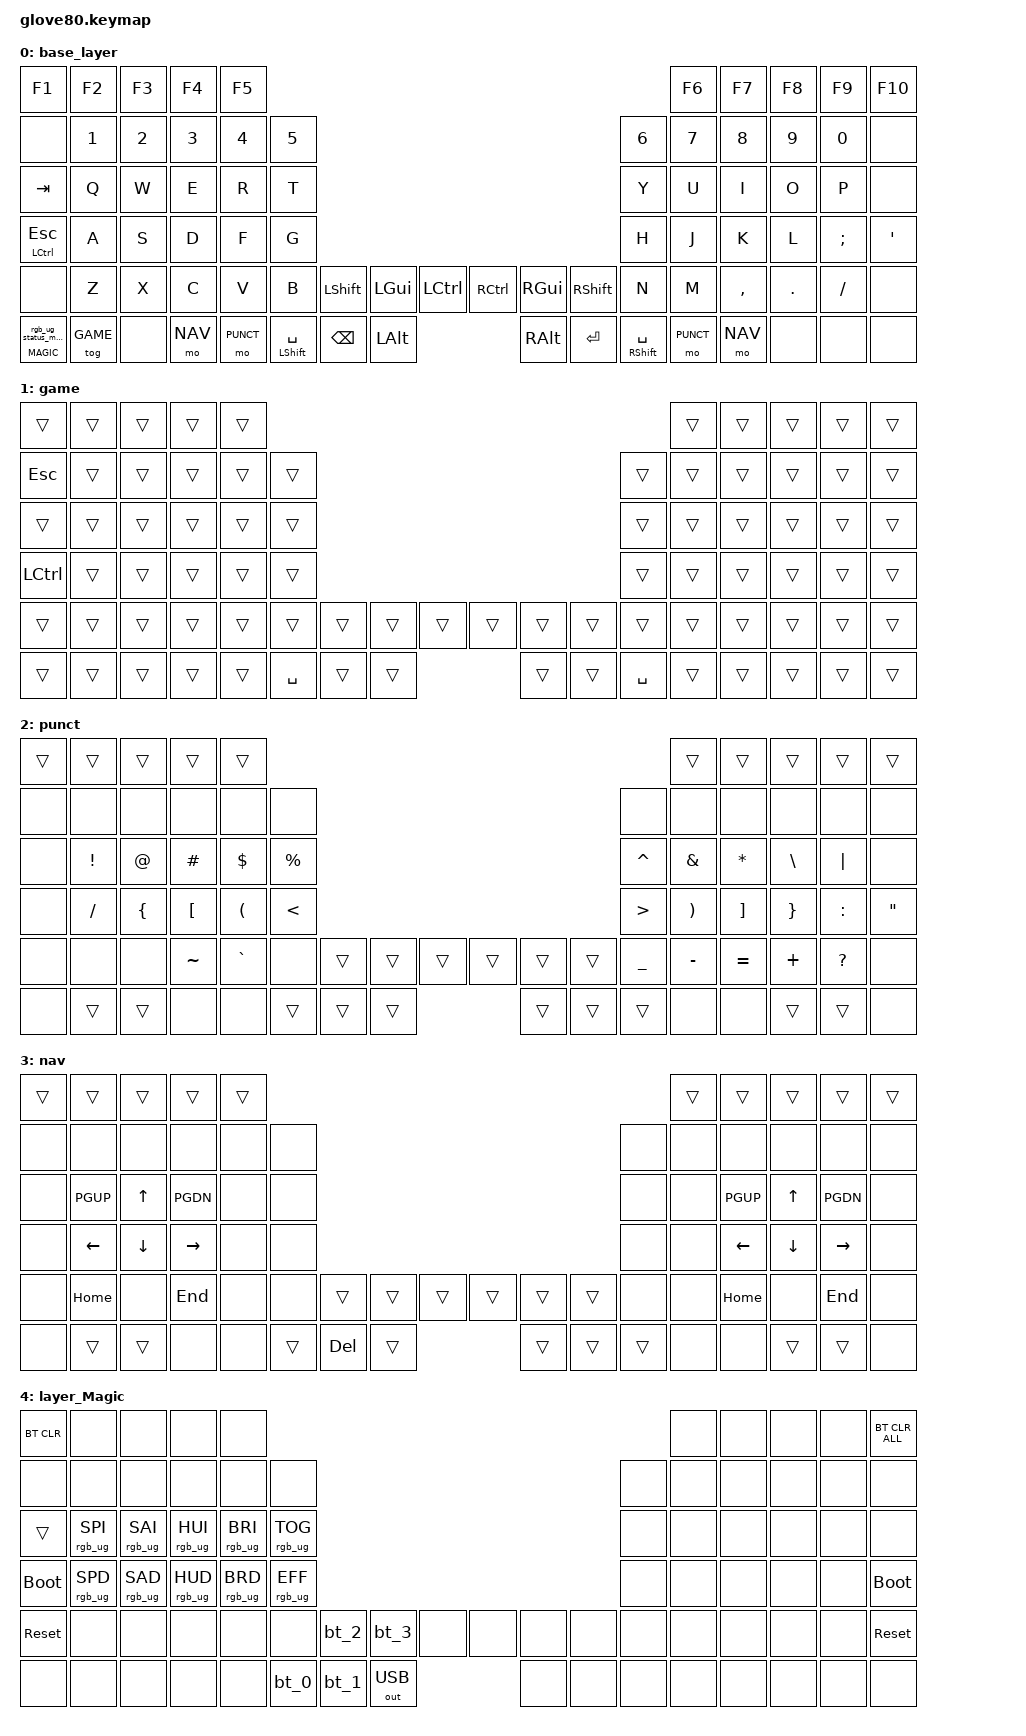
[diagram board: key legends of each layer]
/* vim: nowrap ft=dts
 * Copyright (c) 2020 The ZMK Contributors
 *
 * SPDX-License-Identifier: MIT
 */

#include <behaviors.dtsi>
#include <dt-bindings/zmk/keys.h>
#include <dt-bindings/zmk/bt.h>
#include <dt-bindings/zmk/ext_power.h>
#include <dt-bindings/zmk/outputs.h>
#include <dt-bindings/zmk/rgb.h>

&mt {
    tapping-term-ms = <100>;
    flavor = "balanced";
    // docs say "hold-preferred" should be equivalent to my qmk settings but I am getting crazy false holds,
    // implies something is just physically different about me typing on this keyboard?
    hold-while-undecided; // seems to happen by default anyway?
    quick-tap-ms = <200>; // force repeating the key like qmk
};

// this whole zmk dt system is dumb and obnoxious; the order of the items in
// the dt list below is their actual indices, and if it doesn't match these
// #defines then it just goes slightly insane.
#define GAME 1
#define PUNCT 2
#define NAV 3
#define MAGIC 4


/ {
    /* Glove80 system behavior & macros */
    behaviors {
        /*
        // For the "layer" key, it'd nice to be able to use it as either a shift or a toggle.
        // Configure it as a tap dance, so the first tap (or hold) is a &mo and the second tap is a &to
        lower: tap_dance_0 {
            compatible = "zmk,behavior-tap-dance";
            label = "LAYER_TAP_DANCE";
            #binding-cells = <0>;
            tapping-term-ms = <200>;
            bindings = <&mo LOWER>, <&to LOWER>;
        };
        */

        magic: magic_hold_tap {
            compatible = "zmk,behavior-hold-tap";
            label = "MAGIC_HOLD_TAP";
            #binding-cells = <2>;
            flavor = "hold-preferred"; // similar to HOLD_ON_OTHER_KEY_PRESS in qmk
            tapping-term-ms = <100>;
            bindings = <&mo>, <&rgb_ug_status_macro>;
        };
    };

    macros {
        rgb_ug_status_macro: rgb_ug_status_macro_0 {
            label = "RGB_UG_STATUS";
            compatible = "zmk,behavior-macro";
            #binding-cells = <0>;
            bindings
                = <&rgb_ug RGB_STATUS>;
        };

        bt_0: bt_profile_macro_0 {
            label = "BT_0";
            compatible = "zmk,behavior-macro";
            #binding-cells = <0>;
            bindings
                = <&out OUT_BLE>,
                  <&bt BT_SEL 0>;
        };

        bt_1: bt_profile_macro_1 {
            label = "BT_1";
            compatible = "zmk,behavior-macro";
            #binding-cells = <0>;
            bindings
                = <&out OUT_BLE>,
                  <&bt BT_SEL 1>;
        };

        bt_2: bt_profile_macro_2 {
            label = "BT_2";
            compatible = "zmk,behavior-macro";
            #binding-cells = <0>;
            bindings
                = <&out OUT_BLE>,
                  <&bt BT_SEL 2>;
        };

        bt_3: bt_profile_macro_3 {
            label = "BT_3";
            compatible = "zmk,behavior-macro";
            #binding-cells = <0>;
            bindings
                = <&out OUT_BLE>,
                  <&bt BT_SEL 3>;
        };
    };

    /* Custom Defined Behaviors */

    /* Automatically generated keymap */
    keymap {
        compatible = "zmk,keymap";


        base_layer {
            bindings = <
     &kp F1        &kp F2   &kp F3    &kp F4     &kp F5                                                                                             &kp F6     &kp F7    &kp F8    &kp F9   &kp F10
     &none         &kp N1   &kp N2    &kp N3     &kp N4     &kp N5                                                                          &kp N6  &kp N7     &kp N8    &kp N9    &kp N0   &none
    &kp TAB        &kp Q    &kp W     &kp E      &kp R      &kp T                                                                           &kp Y   &kp U      &kp I     &kp O     &kp P    &none
&mt LCTRL ESC      &kp A    &kp S     &kp D      &kp F      &kp G                                                                           &kp H   &kp J      &kp K     &kp L  &kp SEMI    &kp SQT
    &none          &kp Z    &kp X     &kp C      &kp V      &kp B &kp LSHFT        &kp LGUI  &kp LCTRL   &kp RCTRL  &kp RGUI  &kp RSHFT   &kp N   &kp M    &kp COMMA   &kp DOT  &kp FSLH    &none
 &magic MAGIC 0  &tog GAME  &none     &mo NAV    &mo PUNCT        &mt LSHFT SPACE  &kp BKSP  &kp LALT    &kp RALT   &kp RET   &mt RSHFT SPACE     &mo PUNCT   &mo NAV  &none     &none      &none
            >;
        };

        // disable modtaps etc
        game {
            bindings = <
     &trans    &trans  &trans  &trans  &trans                                                                            &trans  &trans  &trans  &trans  &trans
     &kp ESC   &trans  &trans  &trans  &trans  &trans                                                            &trans  &trans  &trans  &trans  &trans  &trans
     &trans    &trans  &trans  &trans  &trans  &trans                                                            &trans  &trans  &trans  &trans  &trans  &trans
     &kp LCTRL &trans  &trans  &trans  &trans  &trans                                                            &trans  &trans  &trans  &trans  &trans  &trans
     &trans    &trans  &trans  &trans  &trans  &trans   &trans    &trans  &trans     &trans  &trans  &trans      &trans  &trans  &trans  &trans  &trans  &trans
     &trans    &trans  &trans  &trans  &trans           &kp SPACE &trans  &trans     &trans  &trans  &kp SPACE           &trans  &trans  &trans  &trans  &trans
            >;
        };

        punct {
            bindings = <
        &trans
                &trans     &trans     &trans     &trans
                                                                                                                                       &trans     &trans     &trans     &trans
                                                                                                                                                                                &trans
        &none
                &none      &none      &none      &none      &none
                                                                                                                            &none      &none      &none      &none      &none
                                                                                                                                                                                &none
        &none
                &kp EXCL   &kp AT     &kp HASH   &kp DLLR   &kp PRCNT
                                                                                                                            &kp CARET  &kp AMPS   &kp ASTRK  &kp BSLH   &kp PIPE
                                                                                                                                                                                &none
        &none
                &kp SLASH  &kp LBRC   &kp LBKT   &kp LPAR   &kp LT
                                                                                                                            &kp GT     &kp RPAR   &kp RBKT   &kp RBRC   &kp COLON
                                                                                                                                                                                &kp DQT
        &none
                &none      &none      &kp TILDE  &kp GRAVE  &none
                                                                        &trans  &trans  &trans      &trans  &trans  &trans
                                                                                                                            &kp UNDER  &kp MINUS  &kp EQUAL  &kp PLUS   &kp QMARK
                                                                                                                                                                                &none
        &none
                &trans     &trans     &none      &none
                                                                        &trans  &trans  &trans      &trans  &trans  &trans
                                                                                                                                       &none      &none      &trans     &trans
                                                                                                                                                                                &none
            >;
        };

        nav {
            bindings = <
        &trans
                &trans     &trans     &trans     &trans
                                                                                                                                       &trans     &trans     &trans     &trans
                                                                                                                                                                                &trans
        &none
                &none      &none      &none      &none      &none
                                                                                                                            &none      &none      &none      &none      &none
                                                                                                                                                                                &none
        &none
                &kp PGUP   &kp UP     &kp PGDN   &none      &none
                                                                                                                            &none      &none      &kp PGUP   &kp UP     &kp PGDN
                                                                                                                                                                                &none
        &none
                &kp LEFT   &kp DOWN   &kp RIGHT  &none      &none
                                                                                                                            &none      &none      &kp LEFT   &kp DOWN   &kp RIGHT
                                                                                                                                                                                &none
        &none
                &kp HOME   &none      &kp END    &none      &none
                                                                        &trans  &trans  &trans      &trans  &trans  &trans
                                                                                                                            &none      &none      &kp HOME   &none      &kp END
                                                                                                                                                                                &none
        &none
                &trans     &trans     &none      &none
                                                                        &trans  &kp DEL  &trans      &trans  &trans  &trans
                                                                                                                                       &none      &none      &trans     &trans
                                                                                                                                                                                &none
            >;
        };


        layer_Magic {
            bindings = <
  &bt BT_CLR            &none            &none            &none            &none                                                                                  &none   &none   &none   &none  &bt BT_CLR_ALL
       &none            &none            &none            &none            &none            &none                                                         &none   &none   &none   &none   &none           &none
      &trans  &rgb_ug RGB_SPI  &rgb_ug RGB_SAI  &rgb_ug RGB_HUI  &rgb_ug RGB_BRI  &rgb_ug RGB_TOG                                                         &none   &none   &none   &none   &none           &none
 &bootloader  &rgb_ug RGB_SPD  &rgb_ug RGB_SAD  &rgb_ug RGB_HUD  &rgb_ug RGB_BRD  &rgb_ug RGB_EFF                                                         &none   &none   &none   &none   &none     &bootloader
      &sys_reset        &none            &none            &none            &none            &none   &bt_2   &bt_3         &none   &none   &none   &none   &none   &none   &none   &none   &none      &sys_reset
       &none            &none            &none            &none            &none                    &bt_0   &bt_1  &out OUT_USB   &none   &none   &none           &none   &none   &none   &none           &none
            >;
        };

    };
};
